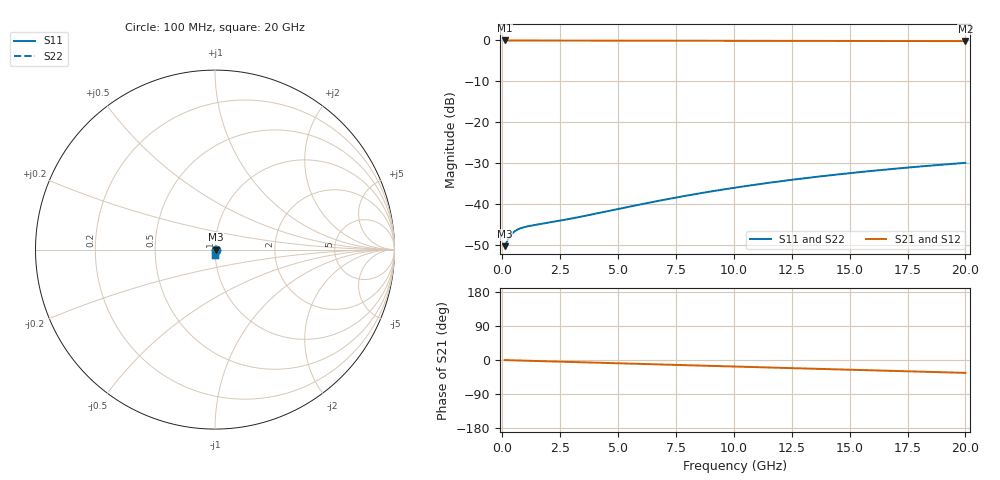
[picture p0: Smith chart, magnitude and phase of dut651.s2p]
! Touchstone file exported from HFSS 2026.1.0
!  File:  C:/ffzhzh/LocalFiles/Ansys_Project_Files/temp_train_BSMRDL_651_1783016956_55676.aedt
!  Generated:  02:30:50 AM Jul  3, 2026
!  Design:  BSMRDL
!  Project:  temp_train_BSMRDL_651_1783016956_55676
! Variables:
!  h_bsmrdl = 3.54um
!  h_ox = 20um
!  h_rdl = 5um
!  h_sub = 80um
!  h_tmrdl = 5um
!  h_tsv = 80um
!  h_via = 3um
!  l_bsmrdl = 605.42um
!  l_sub = 1005.42um
!  l_tmrdl = 200um
!  m_sub = 200um
!  pitch = 25.53um
!  r_tsv = 6um
!  s_tmrdl = 10um
!  w_bsmrdl = 21.98um
!  w_sub = 500um
!  w_tmrdl = 12um
!  x_tsv_center1 = 206um
!  x_tsv_center2 = 833.4um
!  x_tsv_center3 = 1045.4um
!  x_tsv_center4 = 1672.8um
!  x_tsv_center5 = 1884.8um
!  x_tsv_center6 = 2512.2um
# GHz S MA R 50.000000
! Terminal data exported
! Port[1] = BSM_RDL1_1_T1
! Port[2] = BSM_RDL1_1_T2
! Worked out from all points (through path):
!   200 points, 100 MHz to 20 GHz, reference 50 ohm
!   highest |S21| = -0.03 dB at 100 MHz (marker M1); lowest = -0.2 dB at 20 GHz (marker M2)
!   group delay of S21, straight-line fit = 4.7 ps
!   lowest |S11| = -50.2 dB at 100 MHz (marker M3), VSWR 1.01, Z = 50.3 + j0.0556 ohm
!   |S11| at or under -10 dB: start of sweep to end of sweep
!   |S22| runs from -50.2 to -29.9 dB; largest |S21 - S12| = 3e-15
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0.1  0.003092 10.3  0.997 -0.2  0.997 -0.2  0.003092 10.3
! Gamma 0 0 0 0
! Port Impedance 50 0 50 0
0.2  0.003517 15.6  0.9966 -0.4  0.9966 -0.4  0.003517 15.6
0.3  0.003963 16.6  0.9962 -0.6  0.9962 -0.6  0.003962 16.6
0.4  0.004332 15.6  0.9958 -0.8  0.9958 -0.8  0.004332 15.6
0.5  0.004615 13.9  0.9955 -1.0  0.9955 -1.0  0.004615 13.9
0.6  0.004829 12.1  0.9953 -1.1  0.9953 -1.1  0.004829 12.1
0.7  0.004993 10.3  0.9951 -1.3  0.9951 -1.3  0.004993 10.3
0.8  0.005123 8.7  0.995 -1.5  0.995 -1.5  0.005122 8.7
1  0.005319 5.8  0.9947 -1.8  0.9947 -1.8  0.005318 5.8
1.2  0.00547 3.4  0.9945 -2.2  0.9945 -2.2  0.00547 3.4
2.5  0.006332 -7.5  0.9937 -4.4  0.9937 -4.4  0.00633 -7.5
3.5  0.007174 -14.4  0.9929 -6.2  0.9929 -6.2  0.007169 -14.4
5.7  0.00964 -28.5  0.9908 -10.0  0.9908 -10.0  0.009629 -28.5
6.8  0.01111 -35.0  0.9897 -11.8  0.9897 -11.8  0.0111 -35.0
8.4  0.01344 -43.8  0.9881 -14.6  0.9881 -14.6  0.01341 -43.9
10.1  0.01606 -52.2  0.9866 -17.4  0.9866 -17.4  0.01603 -52.3
11.7  0.01862 -59.3  0.9852 -20.1  0.9852 -20.1  0.01859 -59.4
13.4  0.02139 -66.1  0.9838 -23.0  0.9838 -23.0  0.02135 -66.2
15  0.02401 -71.9  0.9826 -25.6  0.9826 -25.6  0.02396 -72.0
16.7  0.02679 -77.6  0.9815 -28.5  0.9815 -28.5  0.02673 -77.7
18.3  0.02937 -82.6  0.9804 -31.1  0.9804 -31.1  0.02931 -82.7
20  0.03208 -87.5  0.9793 -34.0  0.9793 -34.0  0.03201 -87.7
